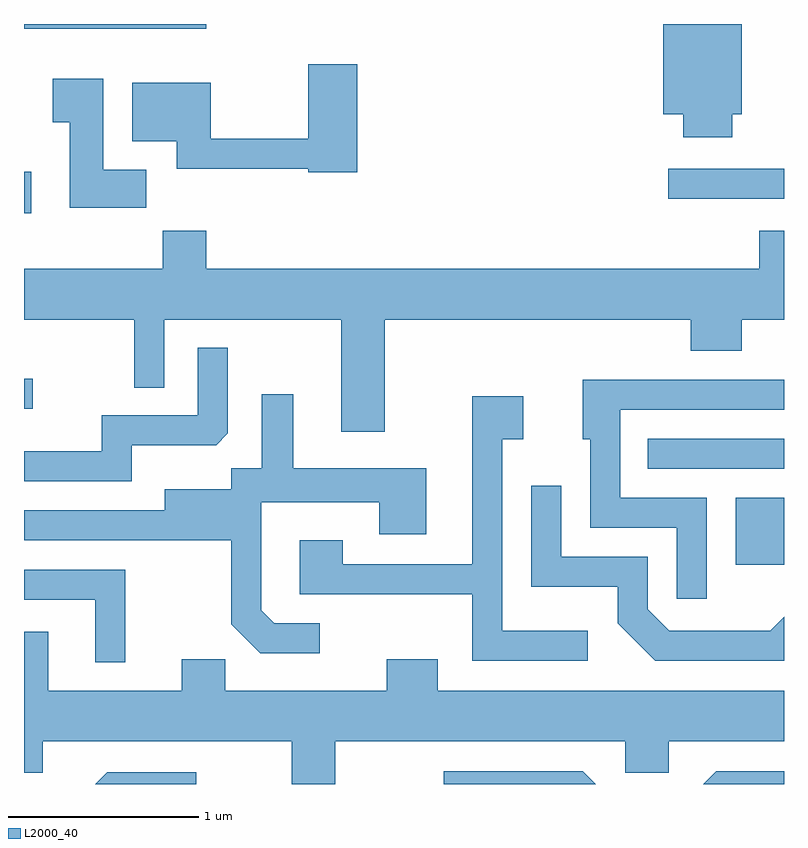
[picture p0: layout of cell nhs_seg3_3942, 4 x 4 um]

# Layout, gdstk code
import gdstk
lib = gdstk.Library(unit=1e-6, precision=1e-09)
def R(c, l, rs):  # rectangles x0, y0, x1, y1
    for r in rs: c.add(gdstk.rectangle(r[:2], r[2:], *l))
def P(c, l, *ps):  # polygons
    for p in ps: c.add(gdstk.Polygon(p, *l))
L2000_40 = (2000, 40)

nhs_seg3_3942 = lib.new_cell('nhs_seg3_3942')
R(nhs_seg3_3942, L2000_40, [(303.356,1249.046,303.611,1249.399), (302.893,1249.551,303.611,1249.709), (299.611,1249.866,299.658,1250.024), (299.611,1250.896,299.649,1251.114), (303.003,1250.971,303.611,1251.129), (299.611,1251.866,300.569,1251.892)])
P(nhs_seg3_3942, L2000_40, [(303.339,1251.416),(303.389,1251.416),(303.389,1251.892),(302.976,1251.892),(302.976,1251.416),(303.081,1251.416),(303.081,1251.296),(303.339,1251.296)],
  [(301.364,1251.679),(301.106,1251.679),(301.106,1251.289),(300.594,1251.289),(300.594,1251.584),(300.181,1251.584),(300.181,1251.276),(300.416,1251.276),(300.416,1251.131),(301.106,1251.131),(301.106,1251.111),(301.364,1251.111)],
  [(300.254,1251.124),(300.029,1251.124),(300.029,1251.604),(299.761,1251.604),(299.761,1251.376),(299.851,1251.376),(299.851,1250.926),(300.254,1250.926)],
  [(301.509,1250.336),(303.121,1250.336),(303.121,1250.171),(303.389,1250.171),(303.389,1250.336),(303.611,1250.336),(303.611,1250.804),(303.481,1250.804),(303.481,1250.604),(300.569,1250.604),(300.569,1250.804),(300.341,1250.804),(300.341,1250.604),(299.611,1250.604),(299.611,1250.336),(300.191,1250.336),(300.191,1249.978),(300.349,1249.978),(300.349,1250.336),(301.281,1250.336),(301.281,1249.746),(301.509,1249.746)],
  [(300.179,1249.676),(300.624,1249.676),(300.684,1249.737),(300.684,1250.188),(300.526,1250.188),(300.526,1249.834),(300.021,1249.834),(300.021,1249.644),(299.611,1249.644),(299.611,1249.486),(300.179,1249.486)],
  [(303.204,1249.399),(302.749,1249.399),(302.749,1249.861),(303.611,1249.861),(303.611,1250.019),(302.551,1250.019),(302.551,1249.706),(302.591,1249.706),(302.591,1249.241),(303.046,1249.241),(303.046,1248.868),(303.204,1248.868)],
  [(301.168,1248.739),(300.927,1248.739),(300.859,1248.807),(300.859,1249.376),(301.481,1249.376),(301.481,1249.206),(301.729,1249.206),(301.729,1249.554),(301.029,1249.554),(301.029,1249.943),(300.861,1249.943),(300.861,1249.554),(300.701,1249.554),(300.701,1249.444),(300.351,1249.444),(300.351,1249.334),(299.611,1249.334),(299.611,1249.176),(300.701,1249.176),(300.701,1248.734),(300.854,1248.581),(301.168,1248.581)],
  [(302.578,1248.699),(302.129,1248.699),(302.129,1249.706),(302.239,1249.706),(302.239,1249.934),(301.971,1249.934),(301.971,1249.049),(301.289,1249.049),(301.289,1249.174),(301.061,1249.174),(301.061,1248.891),(301.971,1248.891),(301.971,1248.541),(302.578,1248.541)],
  [(303.611,1248.771),(303.539,1248.699),(303.007,1248.699),(302.894,1248.812),(302.894,1249.089),(302.439,1249.089),(302.439,1249.463),(302.281,1249.463),(302.281,1248.931),(302.736,1248.931),(302.736,1248.739),(302.934,1248.541),(303.611,1248.541)],
  [(300.144,1249.019),(299.611,1249.019),(299.611,1248.861),(299.986,1248.861),(299.986,1248.533),(300.144,1248.533)],
  [(301.249,1248.116),(302.776,1248.116),(302.776,1247.951),(303.004,1247.951),(303.004,1248.116),(303.611,1248.116),(303.611,1248.384),(301.789,1248.384),(301.789,1248.549),(301.521,1248.549),(301.521,1248.384),(300.669,1248.384),(300.669,1248.549),(300.441,1248.549),(300.441,1248.384),(299.739,1248.384),(299.739,1248.694),(299.611,1248.694),(299.611,1247.951),(299.709,1247.951),(299.709,1248.116),(301.021,1248.116),(301.021,1247.892),(301.249,1247.892)],
  [(303.611,1247.959),(303.254,1247.959),(303.187,1247.892),(303.611,1247.892)],
  [(302.552,1247.959),(301.821,1247.959),(301.821,1247.892),(302.619,1247.892)],
  [(300.518,1247.954),(300.049,1247.954),(299.987,1247.892),(300.518,1247.892)])

lib.write_gds('nhs_seg3_3942.gds')
